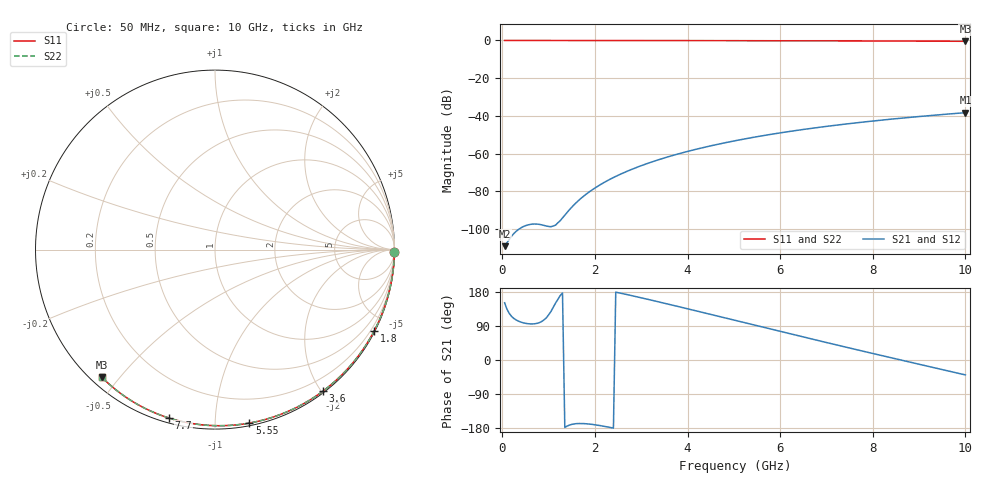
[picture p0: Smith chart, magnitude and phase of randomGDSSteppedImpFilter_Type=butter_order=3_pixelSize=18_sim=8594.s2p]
! freq	dB(S11)	phase(S11)	dB(S12)	phase(S12)
!  dB(S21)	phase(S21)	dB(S22)	phase(S22)
!S-par simulation data
#  GHz  S  DB  R 50
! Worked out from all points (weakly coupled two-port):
!   200 points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, 50 MHz to 10 GHz, reference 50 ohm
!   highest |S21| = -38.29 dB at 10 GHz (marker M1); lowest = -109.0 dB at 50 MHz (marker M2)
!   lowest |S11| = -0.4 dB at 10 GHz (marker M3), VSWR 39.08, Z = 1.54 - j22.4 ohm
!   |S11| at or under -10 dB: nowhere
!   |S22| runs from -0.4 to 0.0 dB; largest |S21 - S12| = 0
!   S11 on the Smith chart (normalised r, x): 50 MHz: open; 1.8 GHz: 0.04, -4.17; 3.6 GHz: 0.02, -2.02; 5.55 GHz: 0.02, -1.22; 7.7 GHz: 0.02, -0.76; 10 GHz: 0.03, -0.45
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0.05  -0.00 -0.8  -109.05 150.9  -109.05 150.9  -0.00 -0.8
0.45  -0.01 -6.8  -98.72 98.2  -98.72 98.2  -0.01 -6.8
0.9  -0.02 -13.6  -98.05 105.9  -98.05 105.9  -0.02 -13.6
1.75  -0.03 -26.3  -82.66 -167.8  -82.66 -167.8  -0.03 -26.3
1.8  -0.03 -27.0  -81.69 -168.2  -81.69 -168.2  -0.03 -27.0
1.9  -0.04 -28.5  -79.88 -169.3  -79.88 -169.3  -0.04 -28.5
2.05  -0.04 -30.7  -77.44 -171.9  -77.44 -171.9  -0.04 -30.7
2.25  -0.04 -33.6  -74.57 -176.1  -74.57 -176.1  -0.04 -33.6
2.45  -0.05 -36.5  -72.06 179.0  -72.06 179.0  -0.05 -36.5
2.65  -0.05 -39.3  -69.81 173.8  -69.81 173.8  -0.05 -39.3
3  -0.06 -44.3  -66.38 164.2  -66.38 164.2  -0.06 -44.3
3.4  -0.07 -50.0  -63.03 152.7  -63.03 152.7  -0.07 -50.0
3.6  -0.07 -52.8  -61.53 146.9  -61.53 146.9  -0.07 -52.8
4.3  -0.09 -62.4  -57.00 126.3  -57.00 126.3  -0.09 -62.4
5.05  -0.11 -72.3  -53.05 104.0  -53.05 104.0  -0.11 -72.3
5.55  -0.13 -78.8  -50.80 89.0  -50.80 89.0  -0.13 -78.8
6.1  -0.15 -85.8  -48.61 72.7  -48.61 72.7  -0.15 -85.8
6.7  -0.18 -93.2  -46.50 54.9  -46.50 54.9  -0.18 -93.2
7.7  -0.24 -105.2  -43.51 25.8  -43.51 25.8  -0.24 -105.2
8.35  -0.29 -112.8  -41.83 7.2  -41.83 7.2  -0.29 -112.9
9.15  -0.36 -122.0  -40.00 -15.4  -40.00 -15.4  -0.36 -122.0
10  -0.44 -131.7  -38.29 -39.4  -38.29 -39.4  -0.44 -131.7
